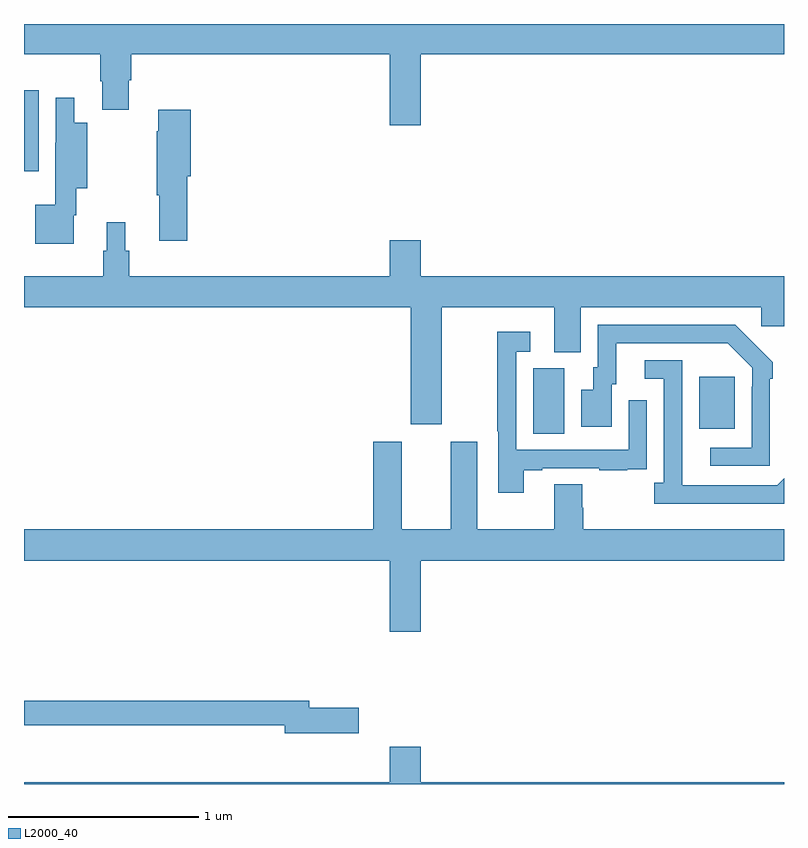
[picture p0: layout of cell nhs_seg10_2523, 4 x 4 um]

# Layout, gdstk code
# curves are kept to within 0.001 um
import gdstk
lib = gdstk.Library(unit=1e-6, precision=1e-09)
def R(c, l, rs):  # rectangles x0, y0, x1, y1
    for r in rs: c.add(gdstk.rectangle(r[:2], r[2:], *l))
def P(c, l, *ps):  # polygons
    for p in ps: c.add(gdstk.Polygon(p, *l))
L2000_40 = (2000, 40)

nhs_seg10_2523 = lib.new_cell('nhs_seg10_2523')
R(nhs_seg10_2523, L2000_40, [(249.68,1274.344,249.844,1274.688), (250.553,1274.369,250.741,1274.644), (247,1275.726,247.077,1276.152)])
P(nhs_seg10_2523, L2000_40, [(249.088,1276.34),(251,1276.34),(251,1276.5),(247,1276.5),(247,1276.34),(247.4,1276.34),(247.4,1276.198),(247.412,1276.198),(247.412,1276.05),(247.552,1276.05),(247.552,1276.203),(247.565,1276.203),(247.565,1276.34),(248.924,1276.34),(248.924,1275.966),(249.088,1275.966)],
  [(247.263,1275.494),(247.276,1275.494),(247.276,1275.635),(247.332,1275.635),(247.332,1275.979),(247.264,1275.979),(247.264,1276.111),(247.166,1276.111),(247.166,1275.875),(247.165,1275.875),(247.165,1275.55),(247.058,1275.55),(247.058,1275.344),(247.263,1275.344)],
  [(247.859,1275.699),(247.877,1275.699),(247.877,1276.048),(247.706,1276.048),(247.706,1275.935),(247.699,1275.935),(247.699,1275.599),(247.712,1275.599),(247.712,1275.36),(247.859,1275.36)],
  [(249.199,1275.008),(249.791,1275.008),(249.791,1274.773),(249.931,1274.773),(249.931,1275.008),(250.881,1275.008),(250.881,1274.91),(251,1274.91),(251,1275.172),(249.088,1275.172),(249.088,1275.361),(248.924,1275.361),(248.924,1275.172),(247.553,1275.172),(247.553,1275.306),(247.534,1275.306),(247.534,1275.457),(247.436,1275.457),(247.436,1275.306),(247.417,1275.306),(247.417,1275.172),(247,1275.172),(247,1275.008),(249.035,1275.008),(249.035,1274.394),(249.199,1274.394)],
  [(250.926,1274.633),(250.941,1274.633),(250.941,1274.721),(250.744,1274.916),(250.02,1274.916),(250.02,1274.694),(249.995,1274.694),(249.995,1274.575),(249.932,1274.575),(249.932,1274.379),(250.093,1274.379),(250.093,1274.604),(250.117,1274.604),(250.117,1274.82),(250.705,1274.82),(250.833,1274.691),(250.833,1274.591),(250.83,1274.591),(250.83,1274.271),(250.611,1274.271),(250.611,1274.175),(250.926,1274.175)],
  [(249.631,1274.151),(249.727,1274.151),(249.727,1274.163),(250.027,1274.163),(250.027,1274.151),(250.175,1274.151),(250.175,1274.157),(250.277,1274.157),(250.277,1274.266),(250.278,1274.266),(250.278,1274.521),(250.182,1274.521),(250.182,1274.259),(249.591,1274.259),(249.591,1274.775),(249.664,1274.775),(249.664,1274.881),(249.49,1274.881),(249.49,1274.356),(249.495,1274.356),(249.495,1274.034),(249.631,1274.034)],
  [(251,1274.108),(250.965,1274.073),(250.465,1274.073),(250.464,1274.73),(250.266,1274.73),(250.266,1274.634),(250.368,1274.634),(250.368,1274.086),(250.317,1274.086),(250.317,1273.976),(251,1273.976)],
  [(249.088,1273.676),(251,1273.676),(251,1273.84),(249.944,1273.84),(249.944,1273.953),(249.939,1273.953),(249.939,1274.078),(249.791,1274.078),(249.791,1273.84),(249.385,1273.84),(249.385,1274.302),(249.245,1274.302),(249.245,1273.84),(248.989,1273.84),(248.989,1274.302),(248.837,1274.302),(248.837,1273.84),(247,1273.84),(247,1273.676),(248.924,1273.676),(248.924,1273.302),(249.088,1273.302)],
  [(248.761,1272.902),(248.5,1272.902),(248.5,1272.938),(247,1272.938),(247,1272.81),(248.372,1272.81),(248.372,1272.767),(248.761,1272.767)],
  [(251,1272.508),(249.088,1272.508),(249.088,1272.697),(248.924,1272.697),(248.924,1272.508),(247,1272.508),(247,1272.5),(251,1272.5)])

lib.write_gds('nhs_seg10_2523.gds')
